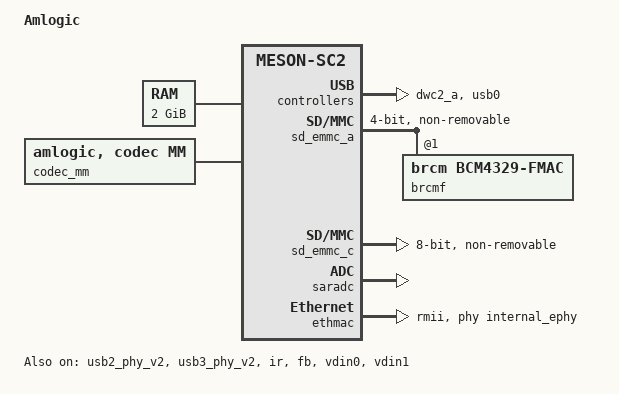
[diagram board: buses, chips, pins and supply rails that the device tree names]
// SPDX-License-Identifier: (GPL-2.0+ OR MIT)
/*
 * Copyright (c) 2019 Amlogic, Inc. All rights reserved.
 */

/dts-v1/;

#include "meson-sc2.dtsi"
#include "partition_mbox.dtsi"
//#include "mesonsm1_skt-panel.dtsi"
#include <dt-bindings/input/input.h>

/ {
	model = "Amlogic";
	amlogic-dt-id = "sc2_s905x4_ah219";
	compatible = "amlogic, sc2";
	interrupt-parent = <&gic>;
	#address-cells = <1>;
	#size-cells = <1>;

	aliases {
		serial0 = &uart_B;
		serial1 = &uart_E;
		serial2 = &uart_C;
		serial3 = &uart_D;
		serial4 = &uart_A;
		i2c0 = &i2c0;
		i2c1 = &i2c1;
		i2c2 = &i2c2;
		i2c3 = &i2c3;
		i2c4 = &i2c4;
		spi1 = &spicc0;
		spi2 = &spicc1;
		tsensor0 = &p_tsensor;
		tsensor1 = &d_tsensor;
	};

	memory@0 {
		device_type = "memory";
		reg = <0x0 0x80000000>;
	};

	reserved-memory {
		secmon_reserved:linux,secmon {
			compatible = "shared-dma-pool";
			reusable;
			size = <0x400000>;
			alignment = <0x400000>;
			alloc-ranges = <0x05000000 0x400000>;
		};

		logo_reserved:linux,meson-fb {
			compatible = "shared-dma-pool";
			reusable;
			size = <0x800000>;
			alignment = <0x400000>;
			alloc-ranges = <0x7f800000 0x800000>;
		};

		ion_cma_reserved:linux,ion-dev {
			compatible = "shared-dma-pool";
			reusable;
			size = <0x8000000>;
			alignment = <0x400000>;
		};
		codec_mm_cma:linux,codec_mm_cma {
				compatible = "shared-dma-pool";
				reusable;
				/* ion_codec_mm max can alloc size 80M*/
				size = <0x0 0x13400000>;
				alignment = <0x0 0x400000>;
				linux,contiguous-region;
		};

		/* codec shared reserved */
		codec_mm_reserved:linux,codec_mm_reserved {
				compatible = "amlogic, codec-mm-reserved";
				size = <0x0 0x0>;
				alignment = <0x0 0x100000>;
				//no-map;
		};

		/*  vdin0 CMA pool */
		vdin0_cma_reserved:linux,vdin0_cma {
			compatible = "shared-dma-pool";
			reusable;
			/* up to 1920x1080 yuv422 8bit and 5 buffers
			 * 1920x1080x2x5 = 20 M
			 */
			size = <0>;
			alignment = <0x400000>;
		};

		/*  vdin1 CMA pool */
		vdin1_cma_reserved:linux,vdin1_cma {
			compatible = "shared-dma-pool";
			reusable;
			/* up to 1920x1080 yuv422 8bit and 5 buffers
			 * 1920x1080x2x5 = 20 M
			 */
			size = <0x01400000>;
			alignment = <0x400000>;
		};

	};
	codec_mm {
		compatible = "amlogic, codec, mm";
		memory-region = <&codec_mm_cma &codec_mm_reserved>;
		dev_name = "codec_mm";
		status = "okay";
	};
	cvbsout {
		compatible = "amlogic, cvbsout-sc2";
		status = "okay";

		/* clk path */
		/* 0:vid_pll vid2_clk */
		/* 1:gp0_pll vid2_clk */
		/* 2:vid_pll vid1_clk */
		/* 3:gp0_pll vid1_clk */
		clk_path = <0>;

		/* performance: reg_address, reg_value */
		/* tm2 */
		performance = <0x1bf0  0x9
			0x1b56  0x333
			0x1b12  0x8080
			0x1b05  0xfd
			0x1c59  0xf850
			0xffff  0x0>; /* ending flag */
		performance_sarft = <0x1bf0  0x9
			0x1b56  0x333
			0x1b12  0x0
			0x1b05  0x9
			0x1c59  0xfc48
			0xffff  0x0>; /* ending flag */
		performance_revB_telecom = <0x1bf0  0x9
			0x1b56  0x546
			0x1b12  0x8080
			0x1b05  0x9
			0x1c59  0xf850
			0xffff  0x0>; /* ending flag */
	};
};

&dwc2_a {
	status = "okay";
	/** 0: normal, 1: otg+dwc3 host only, 2: otg+dwc3 device only*/
	controller-type = <3>;
};

&usb0 {
	status = "okay";
};

&usb2_phy_v2 {
	status = "okay";
	portnum = <2>;
};

&usb3_phy_v2 {
	status = "okay";
	portnum = <1>;
	otg = <1>;
	gpio-vbus-power = "GPIOH_6";
	gpios = <&gpio GPIOH_6 GPIO_ACTIVE_HIGH>;
};

&pcie {
	reset-gpio = <&gpio GPIOX_7 GPIO_ACTIVE_HIGH>;
	status = "disable";
};

/* SDIO */
&sd_emmc_a {
	status = "okay";
	pinctrl-0 = <&sdio_pins>;
	pinctrl-1 = <&sdio_clk_gate_pins>;
	pinctrl-names = "default", "clk-gate";
	#address-cells = <1>;
	#size-cells = <0>;

	bus-width = <4>;
	cap-sd-highspeed;
	sd-uhs-sdr50;
	sd_uhs-sdr104;
	max-frequency = <200000000>;

	non-removable;
	disable-wp;

	//vmmc-supply = <&vddao_3v3>;
	//vqmmc-supply = <&vddio_ao1v8>;

	brcmf: wifi@1 {
		reg = <1>;
		compatible = "brcm,bcm4329-fmac";
	};
};

/* SD card */
&sd_emmc_b {
	status = "disabled";
	pinctrl-0 = <&sdcard_pins>;
	pinctrl-1 = <&sdcard_clk_gate_pins>;
	pinctrl-2 = <&sd_1bit_pins>;
	pinctrl-3 = <&sd_to_ao_uart_clr_pins
		&sdcard_clk_gate_pins &ao_to_sd_uart_pins>;
	pinctrl-4 = <&sd_to_ao_uart_clr_pins
		&sd_1bit_pins &ao_to_sd_uart_pins>;
	pinctrl-5 = <&sdcard_pins &ao_uart_pins>;
	pinctrl-6 = <&sd_to_ao_uart_clr_pins
		&ao_to_sd_uart_pins>;
	pinctrl-7 = <&sdcard_pins &ao_uart_pins>;
	pinctrl-8 = <&sd_to_ao_uart_clr_pins
		&ao_to_sd_uart_pins>;
	pinctrl-names = "sd_default",
			"clk-gate",
			"sd_1bit_pins",
			"sd_clk_cmd_uart_pins",
			"sd_1bit_uart_pins",
			"sd_to_ao_uart_pins",
			"ao_to_sd_uart_pins",
			"sd_to_ao_jtag_pins",
			"ao_to_sd_jtag_pins";
	bus-width = <4>;
	cap-sd-highspeed;
//	sd-uhs-sdr12;
//	sd-uhs-sdr25;
//	sd-uhs-sdr50;
//	sd_uhs-sdr104;
	max-frequency = <200000000>;
	disable-wp;

	cd-gpios = <&gpio GPIOC_6 GPIO_ACTIVE_HIGH>;
	dat1-gpios = <&gpio GPIOC_1 GPIO_ACTIVE_HIGH>;
	//vmmc-supply = <&vddao_3v3>;
	//vqmmc-supply = <&emmc_1v8>;
};

&sd_emmc_c {
	status = "okay";
	pinctrl-0 = <&emmc_pins>, <&emmc_ds_pins>;
	pinctrl-1 = <&emmc_clk_gate_pins>;
	pinctrl-names = "default", "clk-gate";

	bus-width = <8>;
	cap-mmc-highspeed;
	//mmc-ddr-1_8v;
	mmc-hs200-1_8v;
	mmc-hs400-1_8v;
	max-frequency = <200000000>;
	non-removable;
	disable-wp;

//	mmc-pwrseq = <&emmc_pwrseq>;
//	vmmc-supply = <&vddao_3v3>;
//	vqmmc-supply = <&vddao_1v8>;
};

&saradc {
	status = "okay";
};

&ethmac {
	status = "okay";
	phy-handle = <&internal_ephy>;
	phy-mode = "rmii";
};

&ir {
	status = "okay";
	pinctrl-0 = <&remote_pins>;
	pinctrl-names = "default";
};

&spicc0 {
	status = "disabled";
	pinctrl-names = "default";
	pinctrl-0 = <&spicc0_pins_x>;
	cs-gpios = <&gpio GPIOX_10 0>;
};

&spicc1 {
	status = "disabled";
	pinctrl-names = "default";
	pinctrl-0 = <&spicc1_pins_h>;
	cs-gpios = <&gpio GPIOH_6 0>;
};

&fb {
	status = "okay";
	display_size_default = <1920 1080 1920 2160 32>;
	mem_size = <0x00800000 0x1980000 0x100000 0x100000 0x800000>;
	logo_addr = "0x7f800000";
	mem_alloc = <0>;
	pxp_mode = <0>; /** 0:normal mode 1:pxp mode */
};

/*if you want to use vdin just modify status to "ok"*/
&vdin0 {
	/*compatible = "amlogic, vdin-sc2";*/
	/*memory-region = <&vdin0_cma_reserved>;*/
	status = "okay";
	/* up to 1920x1080 yuv422 8bit and 5 buffers
	 * 1920x1080x2x5 = 20 M
	 */
	cma_size = <20>;
	/*vdin write mem color depth support:
	 *bit0:support 8bit
	 *bit1:support 9bit
	 *bit2:support 10bit
	 *bit3:support 12bit
	 *bit4:support yuv422 10bit full pack mode (from txl new add)
	 */
	tv_bit_mode = <0x1>;
};

&vdin1 {
	/*compatible = "amlogic, vdin-sc2";*/
	memory-region = <&vdin1_cma_reserved>;
	status = "okay";
	/*vdin write mem color depth support:
	 *bit0:support 8bit
	 *bit1:support 9bit
	 *bit2:support 10bit
	 *bit3:support 12bit
	 */
	tv_bit_mode = <1>;
};

